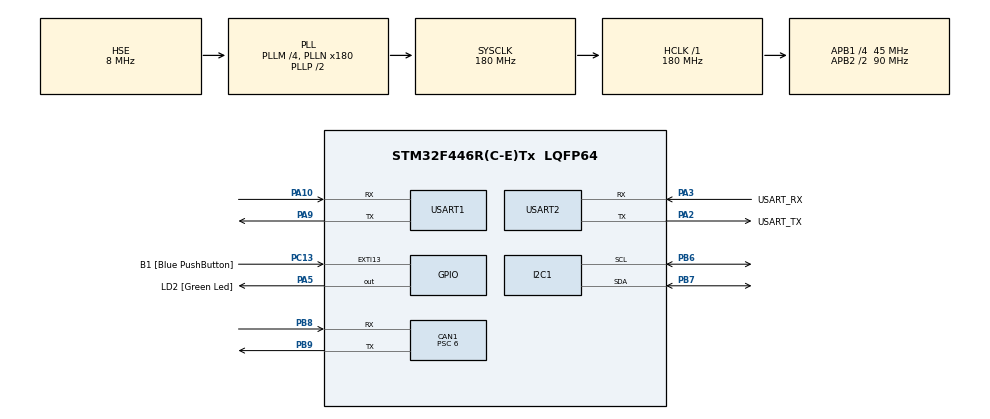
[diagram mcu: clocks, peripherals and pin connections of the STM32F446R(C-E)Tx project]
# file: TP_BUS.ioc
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CAN1.BS1=CAN_BS1_12TQ
CAN1.BS2=CAN_BS2_2TQ
CAN1.CalculateBaudRate=500000
CAN1.CalculateTimeBit=2000
CAN1.CalculateTimeQuantum=133.33333333333331
CAN1.Prescaler=6
Mcu.Family=STM32F4
Mcu.Name=STM32F446R(C-E)Tx
Mcu.Package=LQFP64
NVIC.PriorityGroup=NVIC_PRIORITYGROUP_0
NVIC.USART1_IRQn=true\:0\:0\:false\:false\:true\:true\:true\:true
PA10.Mode=Asynchronous
PA10.Signal=USART1_RX
PA13.GPIO_Label=TMS
PA13.Mode=Serial_Wire
PA13.Signal=SYS_JTMS-SWDIO
PA14.GPIO_Label=TCK
PA14.Mode=Serial_Wire
PA14.Signal=SYS_JTCK-SWCLK
PA2.GPIO_Label=USART_TX
PA2.Mode=Asynchronous
PA2.Signal=USART2_TX
PA3.GPIO_Label=USART_RX
PA3.Mode=Asynchronous
PA3.Signal=USART2_RX
PA5.GPIO_Label=LD2 [Green Led]
PA5.Signal=GPIO_Output
PA9.Mode=Asynchronous
PA9.Signal=USART1_TX
PB3.GPIO_Label=SWO
PB3.Signal=SYS_JTDO-SWO
PB6.Mode=I2C
PB6.Signal=I2C1_SCL
PB7.Mode=I2C
PB7.Signal=I2C1_SDA
PB8.Mode=CAN_Activate
PB8.Signal=CAN1_RX
PB9.Mode=CAN_Activate
PB9.Signal=CAN1_TX
PC13.GPIO_Label=B1 [Blue PushButton]
PC13.GPIO_ModeDefaultEXTI=GPIO_MODE_IT_FALLING
PC13.Signal=GPXTI13
PC14-OSC32_IN.Mode=LSE-External-Oscillator
PC14-OSC32_IN.Signal=RCC_OSC32_IN
PC15-OSC32_OUT.Mode=LSE-External-Oscillator
PC15-OSC32_OUT.Signal=RCC_OSC32_OUT
PH0-OSC_IN.Mode=HSE-External-Oscillator
PH0-OSC_IN.Signal=RCC_OSC_IN
PH1-OSC_OUT.Mode=HSE-External-Oscillator
PH1-OSC_OUT.Signal=RCC_OSC_OUT
ProjectManager.HeapSize=0x200
ProjectManager.StackSize=0x400
ProjectManager.TargetToolchain=STM32CubeIDE
RCC.48MHZClocksFreq_Value=84000000
RCC.AHBFreq_Value=180000000
RCC.APB1CLKDivider=RCC_HCLK_DIV4
RCC.APB1Freq_Value=45000000
RCC.APB1TimFreq_Value=90000000
RCC.APB2CLKDivider=RCC_HCLK_DIV2
RCC.APB2Freq_Value=90000000
RCC.APB2TimFreq_Value=180000000
RCC.CortexFreq_Value=180000000
RCC.FLatency-AdvancedSettings=FLASH_LATENCY_5
RCC.HCLKFreq_Value=180000000
RCC.HSE_VALUE=8000000
RCC.HSI_VALUE=16000000
RCC.PLLM=4
RCC.PLLN=180
RCC.PLLSourceVirtual=RCC_PLLSOURCE_HSE
RCC.SYSCLKFreq_VALUE=180000000
RCC.SYSCLKSource=RCC_SYSCLKSOURCE_PLLCLK
RCC.USBFreq_Value=180000000
RCC.VCOOutputFreq_Value=360000000
USART1.VirtualMode=VM_ASYNC
USART2.VirtualMode=VM_ASYNC
board=NUCLEO-F446RE

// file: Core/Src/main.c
/* USER CODE BEGIN Header */
/**
 ******************************************************************************
 * @file           : main.c
 * @brief          : Main program body
 ******************************************************************************
 * @attention
 *
 * Copyright (c) 2023 STMicroelectronics.
 * All rights reserved.
 *
 * This software is licensed under terms that can be found in the LICENSE file
 * in the root directory of this software component.
 * If no LICENSE file comes with this software, it is provided AS-IS.
 *
 ******************************************************************************
 */
/* USER CODE END Header */
#include "main.h"
#include "can.h"
#include "i2c.h"
#include "usart.h"
#include "gpio.h"

/* USER CODE BEGIN Includes */
#include <stdio.h>
#include "driver.h"
#include <math.h>
/* USER CODE END Includes */

/* USER CODE BEGIN PV */
int32_t nc_temp=0;
int32_t nc_pres=0;
int32_t temp=0;
int32_t old_temp=0;
uint32_t pres=0;
extern uint8_t RxBuff[RX_BUFF_SIZE];
CAN_TxHeaderTypeDef pHeader;
uint8_t aData[2]={0x20,0x01};
uint32_t pTxMailbox;
uint32_t coef = 3;

/* USER CODE END PV */

void SystemClock_Config(void);

int main(void)
{

	/* MCU Configuration--------------------------------------------------------*/

	/* Reset of all peripherals, Initializes the Flash interface and the Systick. */
	HAL_Init();

	/* Configure the system clock */
	SystemClock_Config();

	/* Initialize all configured peripherals */
	MX_GPIO_Init();
	MX_USART2_UART_Init();
	MX_CAN1_Init();
	MX_I2C1_Init();
	MX_USART1_UART_Init();
	/* USER CODE BEGIN 2 */

	HAL_CAN_Start(&hcan1);

	pHeader.StdId=0x61;
	//pHeader->ExtId=0x61;
	pHeader.IDE=CAN_ID_STD;
	pHeader.RTR=CAN_RTR_DATA;
	pHeader.DLC=2;
	pHeader.TransmitGlobalTime=DISABLE;

	if(checkID()==0){
		printf("Connection réussie\r\n");
	}

	if(BMP280_config()==0){
		printf("Configuration réussie\r\n");
	}
	BMP280_etalonnage();

	//HAL_Delay(1000);
	HAL_UART_Receive_IT(&huart1, RxBuff,RX_BUFF_SIZE);

	//HAL_CAN_AddTxMessage(&hcan1, pHeader, aData, pTxMailbox);

	nc_temp = BMP280_get_temp();
	temp=bmp280_compensate_T_int32(nc_temp);
	old_temp=temp;
	/* USER CODE END 2 */

	/* Infinite loop */
	/* USER CODE BEGIN WHILE */
	while (1)
	{
		//aData[1]=0x01;
		//HAL_CAN_AddTxMessage(&hcan1, &pHeader, aData, &pTxMailbox);

		//printf("%lu\r\n",(long unsigned)HAL_CAN_IsTxMessagePending(&hcan1, pTxMailbox));
		//HAL_Delay(2000);
		//aData[1]=0x00;
		//HAL_CAN_AddTxMessage(&hcan1, &pHeader, aData, &pTxMailbox);
		//HAL_Delay(2000);

		nc_temp = BMP280_get_temp();
		temp=bmp280_compensate_T_int32(nc_temp);
		//printf("T=%d%d.%d%d_C\r\n",(temp/1000)%10,(temp/100)%10,(temp/10)%10,temp%10);
		if(fabs(temp-old_temp)>40){

			if(temp>old_temp){//On bouge dans le sens 0x00 +
				aData[1]=0x00;
				aData[0]=(int)((temp-old_temp)/coef);
				HAL_CAN_AddTxMessage(&hcan1, &pHeader, aData, &pTxMailbox);
				//printf("adata0= %d\r\n",aData[0]);
				old_temp=temp;
			}
			else{//On bouge dans le sens 0x01 -
				aData[1]=0x01;
				aData[0]=(int)((old_temp-temp)/coef);
				HAL_CAN_AddTxMessage(&hcan1, &pHeader, aData, &pTxMailbox);
				//printf("adata0= %d\r\n",aData[0]);
				old_temp=temp;
			}
		}
		HAL_Delay(2000);

		//		        printf("ALED\r\n");
		//				nc_temp = BMP280_get_temp();
		//				nc_pres = BMP280_get_pres();
		//				temp=bmp280_compensate_T_int32(nc_temp);
		//				pres=bmp280_compensate_P_int64(nc_pres);
		//				printf("Température non compensée = %x\r\n",nc_temp);
		//				printf("Pression non compensée = %x\r\n",nc_pres);
		//				printf("Température compensée = %x\r\n",temp);
		//				printf("Pression compensée = %x\r\n",pres);
		//		        HAL_Delay(500);
		/* USER CODE END WHILE */

	}
}

void SystemClock_Config(void)
{
	RCC_OscInitTypeDef RCC_OscInitStruct = {0};
	RCC_ClkInitTypeDef RCC_ClkInitStruct = {0};

	/** Configure the main internal regulator output voltage
	 */
	__HAL_RCC_PWR_CLK_ENABLE();
	__HAL_PWR_VOLTAGESCALING_CONFIG(PWR_REGULATOR_VOLTAGE_SCALE1);

	/** Initializes the RCC Oscillators according to the specified parameters
	 * in the RCC_OscInitTypeDef structure.
	 */
	RCC_OscInitStruct.OscillatorType = RCC_OSCILLATORTYPE_HSE;
	RCC_OscInitStruct.HSEState = RCC_HSE_ON;
	RCC_OscInitStruct.PLL.PLLState = RCC_PLL_ON;
	RCC_OscInitStruct.PLL.PLLSource = RCC_PLLSOURCE_HSE;
	RCC_OscInitStruct.PLL.PLLM = 4;
	RCC_OscInitStruct.PLL.PLLN = 180;
	RCC_OscInitStruct.PLL.PLLP = RCC_PLLP_DIV2;
	RCC_OscInitStruct.PLL.PLLQ = 2;
	RCC_OscInitStruct.PLL.PLLR = 2;
	if (HAL_RCC_OscConfig(&RCC_OscInitStruct) != HAL_OK)
	{
		Error_Handler();
	}

	/** Activate the Over-Drive mode
	 */
	if (HAL_PWREx_EnableOverDrive() != HAL_OK)
	{
		Error_Handler();
	}

	/** Initializes the CPU, AHB and APB buses clocks
	 */
	RCC_ClkInitStruct.ClockType = RCC_CLOCKTYPE_HCLK|RCC_CLOCKTYPE_SYSCLK
			|RCC_CLOCKTYPE_PCLK1|RCC_CLOCKTYPE_PCLK2;
	RCC_ClkInitStruct.SYSCLKSource = RCC_SYSCLKSOURCE_PLLCLK;
	RCC_ClkInitStruct.AHBCLKDivider = RCC_SYSCLK_DIV1;
	RCC_ClkInitStruct.APB1CLKDivider = RCC_HCLK_DIV4;
	RCC_ClkInitStruct.APB2CLKDivider = RCC_HCLK_DIV2;

	if (HAL_RCC_ClockConfig(&RCC_ClkInitStruct, FLASH_LATENCY_5) != HAL_OK)
	{
		Error_Handler();
	}
}

void Error_Handler(void)
{
	__disable_irq();
	while (1)
	{
	}
}
